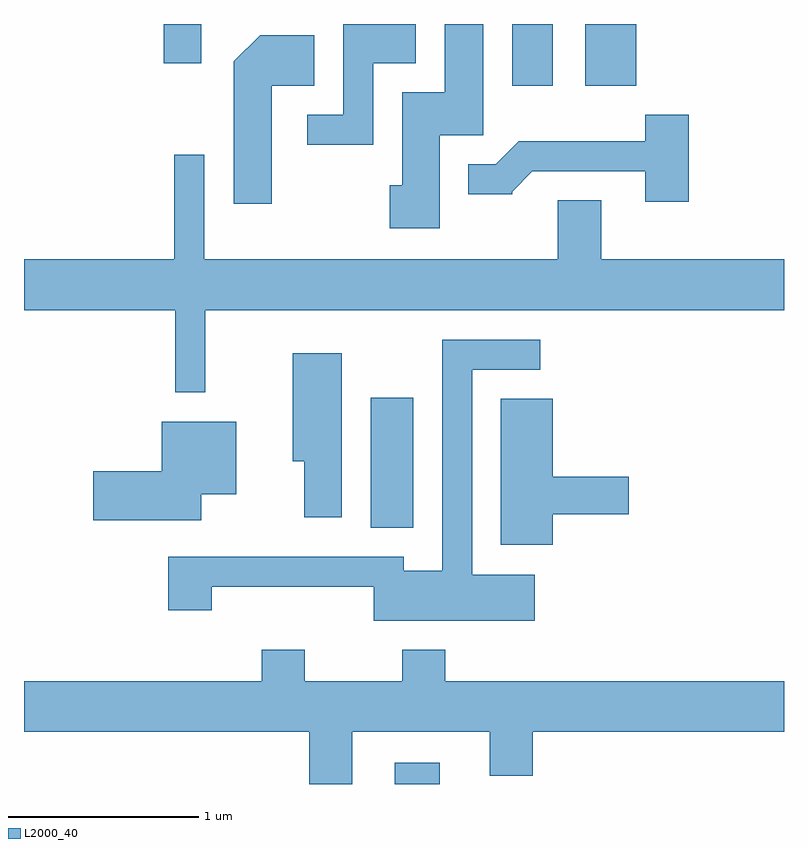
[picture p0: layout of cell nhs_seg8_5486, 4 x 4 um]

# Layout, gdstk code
import gdstk
lib = gdstk.Library(unit=1e-6, precision=1e-09)
def R(c, l, rs):  # rectangles x0, y0, x1, y1
    for r in rs: c.add(gdstk.rectangle(r[:2], r[2:], *l))
def P(c, l, *ps):  # polygons
    for p in ps: c.add(gdstk.Polygon(p, *l))
L2000_40 = (2000, 40)

nhs_seg8_5486 = lib.new_cell('nhs_seg8_5486')
R(nhs_seg8_5486, L2000_40, [(351.563,1858.342,351.799,1858.454), (351.436,1859.691,351.659,1860.374), (352.181,1862.016,352.394,1862.342), (352.566,1862.016,352.834,1862.342), (350.346,1862.136,350.544,1862.342)])
P(nhs_seg8_5486, L2000_40, [(351.799,1861.756),(352.029,1861.756),(352.029,1862.342),(351.826,1862.342),(351.826,1861.984),(351.601,1861.984),(351.601,1861.494),(351.536,1861.494),(351.536,1861.266),(351.799,1861.266)],
  [(351.449,1862.136),(351.674,1862.136),(351.674,1862.342),(351.291,1862.342),(351.291,1861.864),(351.103,1861.864),(351.103,1861.706),(351.449,1861.706)],
  [(350.914,1862.016),(351.139,1862.016),(351.139,1862.284),(350.854,1862.284),(350.716,1862.147),(350.716,1861.396),(350.914,1861.396)],
  [(353.109,1861.864),(352.881,1861.864),(352.881,1861.724),(352.214,1861.724),(352.094,1861.604),(351.948,1861.604),(351.948,1861.446),(352.18,1861.446),(352.18,1861.46),(352.287,1861.566),(352.881,1861.566),(352.881,1861.406),(353.109,1861.406)],
  [(350.564,1860.836),(353.611,1860.836),(353.611,1861.104),(352.649,1861.104),(352.649,1861.414),(352.421,1861.414),(352.421,1861.104),(350.559,1861.104),(350.559,1861.653),(350.401,1861.653),(350.401,1861.104),(349.611,1861.104),(349.611,1860.836),(350.406,1860.836),(350.406,1860.403),(350.564,1860.403)],
  [(352.299,1859.444),(351.969,1859.444),(351.969,1860.521),(352.328,1860.521),(352.328,1860.679),(351.811,1860.679),(351.811,1859.464),(351.609,1859.464),(351.609,1859.539),(350.371,1859.539),(350.371,1859.256),(350.599,1859.256),(350.599,1859.381),(351.451,1859.381),(351.451,1859.201),(352.299,1859.201)],
  [(351.284,1860.609),(351.026,1860.609),(351.026,1860.041),(351.086,1860.041),(351.086,1859.746),(351.284,1859.746)],
  [(352.394,1859.761),(352.794,1859.761),(352.794,1859.959),(352.394,1859.959),(352.394,1860.369),(352.121,1860.369),(352.121,1859.601),(352.394,1859.601)],
  [(350.544,1859.866),(350.729,1859.866),(350.729,1860.249),(350.336,1860.249),(350.336,1859.989),(349.976,1859.989),(349.976,1859.731),(350.544,1859.731)],
  [(351.339,1858.616),(352.061,1858.616),(352.061,1858.386),(352.289,1858.386),(352.289,1858.616),(353.611,1858.616),(353.611,1858.884),(351.829,1858.884),(351.829,1859.049),(351.601,1859.049),(351.601,1858.884),(351.089,1858.884),(351.089,1859.049),(350.861,1859.049),(350.861,1858.884),(349.611,1858.884),(349.611,1858.616),(351.111,1858.616),(351.111,1858.342),(351.339,1858.342)])

lib.write_gds('nhs_seg8_5486.gds')
